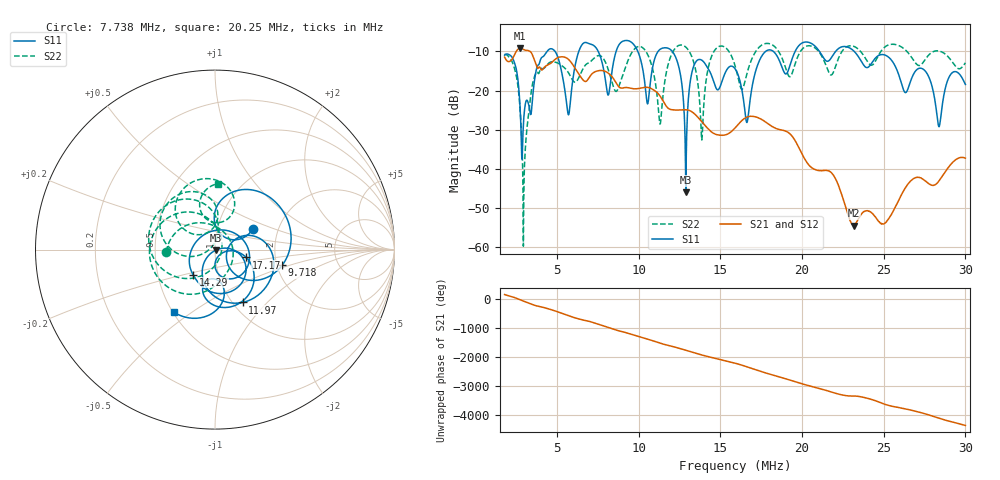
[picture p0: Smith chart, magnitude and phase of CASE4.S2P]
!Agilent Technologies,E5061B,MY49101568,A.02.00
!Date: Wed Mar 01 14:58:10 2023
!Data & Calibration Information:
!Freq	S11:SOLT2(OFF)	S21:SOLT2(OFF)	S12:SOLT2(OFF)	S22:SOLT2(OFF)
# Hz S dB R 50
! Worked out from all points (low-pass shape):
!   1155 points, 1.8 MHz to 30 MHz, reference 50 ohm
!   highest |S21| = -9.17 dB at 2.753 MHz (marker M1); lowest = -54.5 dB at 23.16 MHz (marker M2)
!   |S21| within 3 dB of the highest: 2.227 MHz to 3.623 MHz (1.396 MHz wide, 47.7 % of centre); 4.852 MHz to 5.74 MHz (887.7 kHz wide, 16.8 % of centre)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
!   lowest |S11| = -46.0 dB at 12.89 MHz (marker M3), VSWR 1.01, Z = 50.4 - j0.345 ohm
!   |S11| at or under -10 dB: start of sweep to 4.4 MHz; 12.06 MHz to 17.77 MHz (5.711 MHz wide, 38.3 % of centre); 23.2 MHz to end of sweep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
!   |S22| runs from -59.7 to -8.0 dB; largest |S21 - S12| = 0.0044
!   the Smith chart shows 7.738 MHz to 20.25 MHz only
!   S11 on the Smith chart (normalised r, x): 7.738 MHz: 1.48, +0.36; 9.718 MHz: 2.13, -0.44; 11.97 MHz: 1.11, -0.73; 14.29 MHz: 0.75, -0.22; 17.17 MHz: 1.41, -0.13; 20.25 MHz: 0.50, -0.42
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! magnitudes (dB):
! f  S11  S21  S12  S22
! 1.8 MHz  -11.0  -11.5  -11.4  -10.8
! 2.753 MHz  -24.7  -9.2  -9.2  -25.1
! 2.973 MHz  -27.0  -9.6  -9.6  -47.6
! 3.706 MHz  -15.4  -13.1  -13.1  -15.6
! 5.71 MHz  -26.2  -12.0  -12.0  -15.5
! 6.516 MHz  -8.4  -16.9  -16.8  -15.1
! 7.738 MHz  -12.4  -14.9  -14.8  -11.3
! 9.718 MHz  -8.3  -19.5  -19.6  -9.5
! 10.55 MHz  -23.4  -19.2  -19.2  -10.7
! 11.21 MHz  -9.9  -20.8  -20.9  -24.5
! 11.97 MHz  -9.6  -24.8  -24.9  -11.3
! 12.89 MHz  -46.0  -24.9  -25.0  -8.9
! 13.87 MHz  -12.3  -28.0  -28.0  -32.6
! 14.29 MHz  -14.6  -29.9  -29.9  -13.7
! 15.9 MHz  -14.4  -29.6  -29.6  -13.6
! 17.17 MHz  -14.9  -26.7  -26.8  -10.0
! 20.25 MHz  -7.6  -38.1  -38.0  -8.7
! 20.62 MHz  -8.1  -39.8  -39.7  -8.7
! 23.16 MHz  -9.8  -54.5  -54.3  -8.7
! 25.31 MHz  -11.5  -52.7  -52.6  -8.3
! 28.39 MHz  -29.2  -43.1  -43.0  -9.9
! 30 MHz  -18.4  -37.3  -37.2  -12.9
